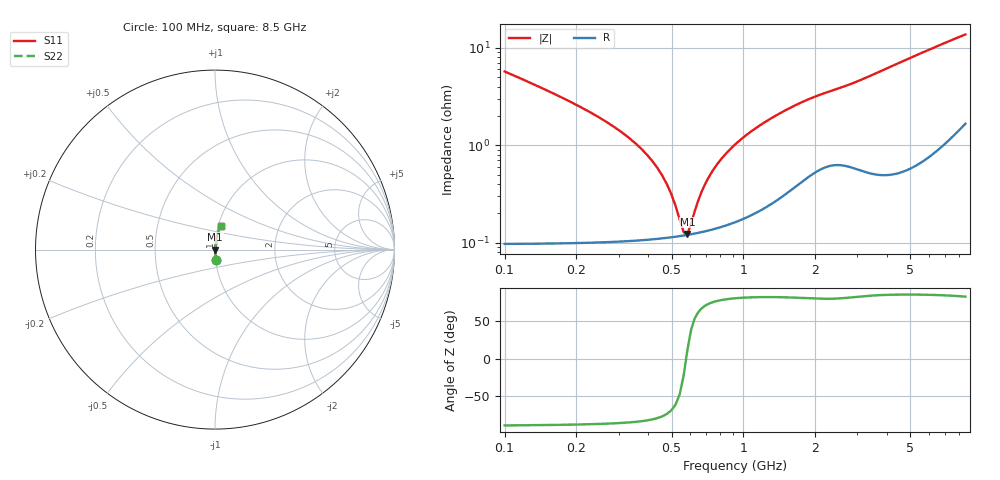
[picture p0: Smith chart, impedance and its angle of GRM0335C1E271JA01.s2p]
!Murata Part Number: GRM0335C1E271JA01
!These Parameters are Measured in Series Mode Connection
!Data Generated on Mar 30, 2021
!  o--ll--o
!Port1  Port2
!  o------o
!Operation Temp=25[degC], DC Bias Voltage=0[V]
!Freq. Start=100[MHz] Stop=9[GHz] 401[Steps]
# Hz S RI R 50
!Freq.(Hz) S11(Real) S11(Imag) S21(Real) S21(Imag) S12(Real) S12(Imag) S22(Real) S22(Imag)
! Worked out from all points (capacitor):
!   401 points, 100 MHz to 8.5 GHz, reference 50 ohm
!   read as one part in series: C = 270 pF near 142 MHz
!   lowest |Z| = 123 mohm at 583 MHz (marker M1)
!   series resonance near 575.7 MHz, so ESL is about 280 pH
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1e8  0.00422 -0.0569  0.9958 0.0569  0.9958 0.0569  0.00422 -0.0569
1.42e8  0.00249 -0.0389  0.9975 0.0389  0.9975 0.0389  0.00249 -0.0389
2.05e8  0.00162 -0.025  0.9984 0.025  0.9984 0.025  0.00162 -0.025
3.94e8  0.00113 -0.00794  0.9989 0.00794  0.9989 0.00794  0.00113 -0.00794
4.57e8  0.00113 -0.00476  0.9989 0.00476  0.9989 0.00476  0.00113 -0.00476
5.41e8  0.00117 -0.00127  0.9988 0.00127  0.9988 0.00127  0.00117 -0.00127
5.62e8  0.00119 -0.000488  0.9988 0.000488  0.9988 0.000488  0.00119 -0.000488
5.83e8  0.0012 0.000263  0.9988 -0.000263  0.9988 -0.000263  0.0012 0.000263
6.04e8  0.00122 0.000987  0.9988 -0.000987  0.9988 -0.000987  0.00122 0.000987
6.67e8  0.00129 0.00303  0.9987 -0.00303  0.9987 -0.00303  0.00129 0.00303
7.3e8  0.00138 0.00491  0.9986 -0.00491  0.9986 -0.00491  0.00138 0.00491
7.93e8  0.00147 0.00667  0.9985 -0.00667  0.9985 -0.00667  0.00147 0.00667
8.77e8  0.00163 0.00888  0.9984 -0.00888  0.9984 -0.00888  0.00163 0.00888
9.82e8  0.00185 0.0115  0.9981 -0.0115  0.9981 -0.0115  0.00185 0.0115
1.129e9  0.00224 0.0148  0.9978 -0.0148  0.9978 -0.0148  0.00224 0.0148
1.507e9  0.00367 0.0226  0.9963 -0.0226  0.9963 -0.0226  0.00367 0.0226
2.032e9  0.00635 0.0313  0.9937 -0.0313  0.9937 -0.0313  0.00635 0.0313
2.914e9  0.00762 0.043  0.9924 -0.043  0.9924 -0.043  0.00762 0.043
4.3e9  0.00939 0.0657  0.9906 -0.0657  0.9906 -0.0657  0.00939 0.0657
5.707e9  0.0149 0.0886  0.9851 -0.0886  0.9851 -0.0886  0.0149 0.0886
7.114e9  0.0231 0.1101  0.9769 -0.1101  0.9769 -0.1101  0.0231 0.1101
8.5e9  0.0336 0.1292  0.9664 -0.1292  0.9664 -0.1292  0.0336 0.1292
